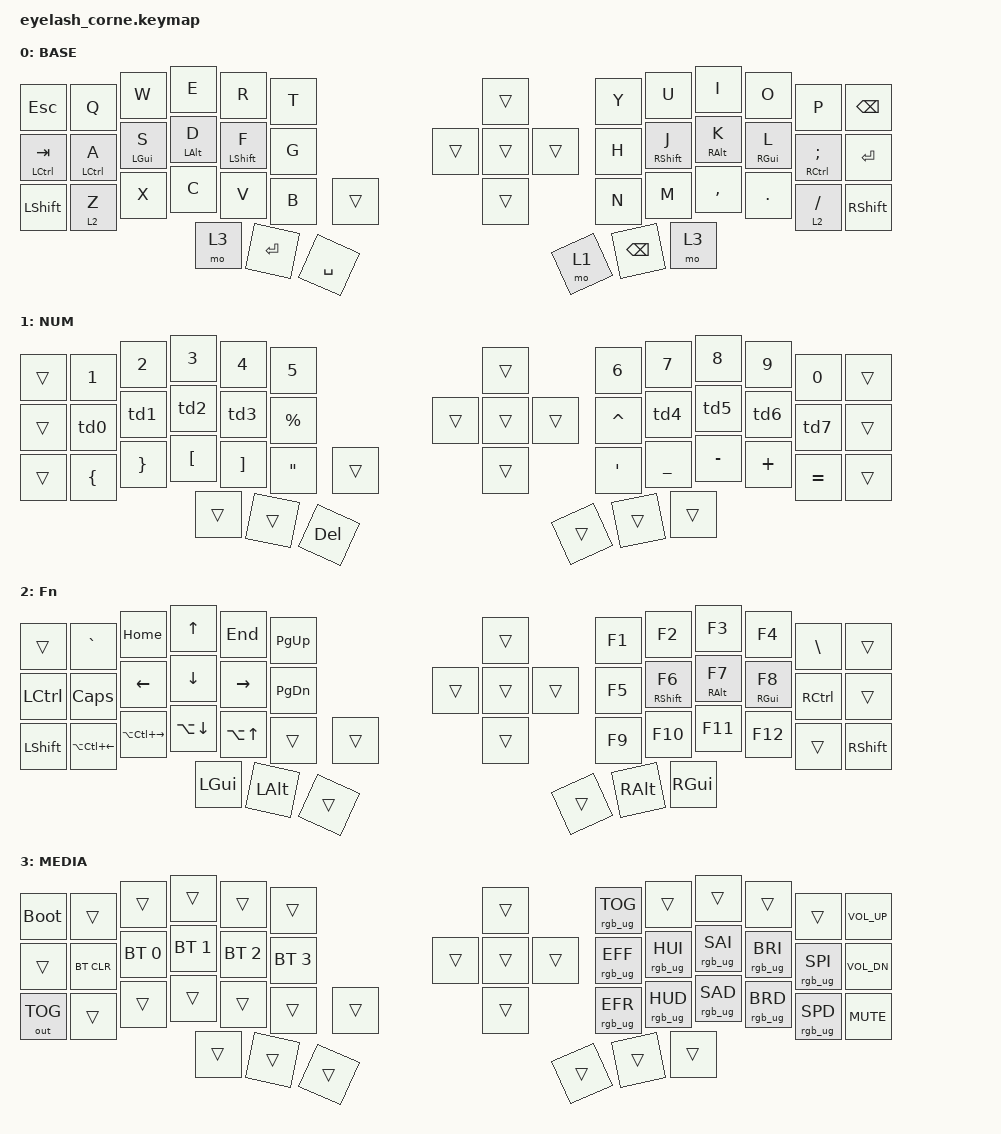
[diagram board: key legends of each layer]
#define ZMK_POINTING_DEFAULT_MOVE_VAL 1200  // 600
#define ZMK_POINTING_DEFAULT_SCRL_VAL 25   // 10
#define TAP_TERM 200
#define COMBO_TERM 50

#include <input/processors.dtsi>
#include <zephyr/dt-bindings/input/input-event-codes.h>
#include <behaviors.dtsi>
#include <dt-bindings/zmk/bt.h>
#include <dt-bindings/zmk/keys.h>
#include <dt-bindings/zmk/outputs.h>
#include <dt-bindings/zmk/rgb.h>

#define CTL_TAB &mt LCTRL TAB
#define CTL_A &mt LCTRL A
#define GUI_S &mt LGUI S
#define ALT_D &mt LALT D
#define SFT_F &mt LSHFT F
#define CTL_SEMI &mt RCTRL SEMI
#define GUI_L &mt RGUI L
#define ALT_K &mt RALT K
#define SFT_J &mt RSHFT J
#define LT2_Z &lt 2 Z
#define LT2_SLA &lt 2 SLASH
#define TAB_L &kp LA(LC(LEFT))
#define TAB_R &kp LA(LC(RIGHT))
#define ATL_UP &kp LA(UP)
#define ATL_DOWN &kp LA(DOWN)
#define GUI_F8 &mt RGUI F8
#define ALT_F7 &mt RALT F7
#define SFT_F6 &mt RSHFT F6

// Bluetooth shortcuts
#define BCLR &bt BT_CLR
#define BSEL0 &bt BT_SEL 0
#define BSEL1 &bt BT_SEL 1
#define BSEL2 &bt BT_SEL 2
#define BSEL3 &bt BT_SEL 3

// Output toggle
#define OTOG &out OUT_TOG

// RGB controls
#define RTOG &rgb_ug RGB_TOG
#define REFF &rgb_ug RGB_EFF
#define REFR &rgb_ug RGB_EFR
#define RHUI &rgb_ug RGB_HUI
#define RHUD &rgb_ug RGB_HUD
#define RSAI &rgb_ug RGB_SAI
#define RSAD &rgb_ug RGB_SAD
#define RBRI &rgb_ug RGB_BRI
#define RBRD &rgb_ug RGB_BRD
#define RSPI &rgb_ug RGB_SPI
#define RSPD &rgb_ug RGB_SPD

// Media controls
#define VOLUP &kp C_VOL_UP
#define VOLDN &kp C_VOL_DN
#define MUTE &kp C_MUTE

// System
#define BTLD &bootloader

// Transparent key
#define ________ &trans

&soft_off { hold-time-ms = <2000>; };

/ {
    behaviors {
        mt: mod_tap {
            compatible = "zmk,behavior-hold-tap";
            #binding-cells = <2>;
            flavor = "balanced";
            tapping-term-ms = <TAP_TERM>;
            bindings = <&kp>, <&kp>;
            display-name = "Mod-Tap";
        };

        lt: layer_tap {
            compatible = "zmk,behavior-hold-tap";
            #binding-cells = <2>;
            flavor = "balanced";
            tapping-term-ms = <TAP_TERM>;
            bindings = <&mo>, <&kp>;
            display-name = "Layer-Tap";
        };

        td0: td0 {
            compatible = "zmk,behavior-tap-dance";
            display-name = "TD 0";
            #binding-cells = <0>;
            tapping-term-ms = <TAP_TERM>;
            bindings = <&mt LCTRL EXCL>;
        };

        td1: td1 {
            compatible = "zmk,behavior-tap-dance";
            display-name = "TD 1";
            #binding-cells = <0>;
            tapping-term-ms = <TAP_TERM>;
            bindings = <&mt LGUI AT>;
        };

        td2: td2 {
            compatible = "zmk,behavior-tap-dance";
            display-name = "TD 2";
            #binding-cells = <0>;
            tapping-term-ms = <TAP_TERM>;
            bindings = <&mt LALT POUND>;
        };

        td3: td3 {
            compatible = "zmk,behavior-tap-dance";
            display-name = "TD 3";
            #binding-cells = <0>;
            tapping-term-ms = <TAP_TERM>;
            bindings = <&mt LSHFT DLLR>;
        };

        td4: td4 {
            compatible = "zmk,behavior-tap-dance";
            display-name = "TD 4";
            #binding-cells = <0>;
            tapping-term-ms = <TAP_TERM>;
            bindings = <&mt RSHFT AMPS>;
        };

        td5: td5 {
            compatible = "zmk,behavior-tap-dance";
            display-name = "TD 5";
            #binding-cells = <0>;
            tapping-term-ms = <TAP_TERM>;
            bindings = <&mt RALT STAR>;
        };

        td6: td6 {
            compatible = "zmk,behavior-tap-dance";
            display-name = "TD 6";
            #binding-cells = <0>;
            tapping-term-ms = <TAP_TERM>;
            bindings = <&mt RGUI LPAR>;
        };

        td7: td7 {
            compatible = "zmk,behavior-tap-dance";
            display-name = "TD 7";
            #binding-cells = <0>;
            tapping-term-ms = <TAP_TERM>;
            bindings = <&mt RCTRL RPAR>;
        };
    };

    combos {
        compatible = "zmk,combos";
        softoff {
            bindings = <&soft_off>;
            key-positions = <1 15 29>;
        };
        combo_esc {
            timeout-ms = <COMBO_TERM>;
            key-positions = <2 3>;
            bindings = <&kp ESC>;
        };
        combo_tab {
            timeout-ms = <COMBO_TERM>;
            key-positions = <31 32>;
            bindings = <&kp TAB>;
        };
        combo_ent {
            timeout-ms = <COMBO_TERM>;
            key-positions = <37 38>;
            bindings = <&kp ENTER>;
        };
        combo_bspc {
            timeout-ms = <COMBO_TERM>;
            key-positions = <9 10>;
            bindings = <&kp BSPC>;
        };
    };

    keymap {
        compatible = "zmk,keymap";

        default_layer {
            display-name = "BASE";
            bindings = <
&kp ESC     &kp Q  &kp W  &kp E    &kp R      &kp T                          ________  &kp Y     &kp U     &kp I       &kp O     &kp P      &kp BSPC
CTL_TAB     CTL_A  GUI_S  ALT_D    SFT_F      &kp G      ________  ________  ________  &kp H     SFT_J     ALT_K       GUI_L     CTL_SEMI   &kp ENTER
&kp LSHFT   LT2_Z  &kp X  &kp C    &kp V      &kp B      ________            ________  &kp N     &kp M     &kp COMMA   &kp DOT   LT2_SLA    &kp RSHFT
                          &mo 3    &kp ENTER  &kp SPACE                                &mo 1     &kp BSPC  &mo 3
            >;
        };

        lower_layer {
            display-name = "NUM";
            bindings = <
________  &kp N1    &kp N2    &kp N3    &kp N4    &kp N5                         ________  &kp N6     &kp N7     &kp N8     &kp N9    &kp N0     ________
________  &td0      &td1      &td2      &td3      &kp PRCNT  ________  ________  ________  &kp CARET  &td4       &td5       &td6      &td7       ________
________  &kp LBRC  &kp RBRC  &kp LBKT  &kp RBKT  &kp DQT    ________            ________  &kp SQT    &kp UNDER  &kp MINUS  &kp PLUS  &kp EQUAL  ________
                              ________  ________  &kp DEL                                  ________   ________   ________
            >;
        };

        raise_layer {
            display-name = "Fn";
            bindings = <
________  &kp GRAVE  &kp HOME  &kp UP    &kp END    &kp PG_UP                      ________  &kp F1   &kp F2   &kp F3   &kp F4   &kp BSLH   ________
&kp LCTRL &kp CAPS   &kp LEFT  &kp DOWN  &kp RIGHT  &kp PG_DN  ________  ________  ________  &kp F5   SFT_F6   ALT_F7   GUI_F8   &kp RCTRL  ________
&kp LSHFT TAB_L      TAB_R     ATL_DOWN  ATL_UP     ________   ________            ________  &kp F9   &kp F10  &kp F11  &kp F12  ________   &kp RSHFT
                               &kp LGUI  &kp LALT   ________                                 ________ &kp RALT &kp RGUI
            >;
        };

        layer_3 {
            display-name = "MEDIA";
            bindings = <
BTLD      ________  ________  ________  ________  ________                      ________  RTOG      ________  ________  ________  ________  VOLUP
________  BCLR      BSEL0     BSEL1     BSEL2     BSEL3     ________  ________  ________  REFF      RHUI      RSAI      RBRI      RSPI      VOLDN
OTOG      ________  ________  ________  ________  ________  ________            ________  REFR      RHUD      RSAD      RBRD      RSPD      MUTE
                              ________  ________  ________                                ________  ________  ________
            >;
        };
    };
};
